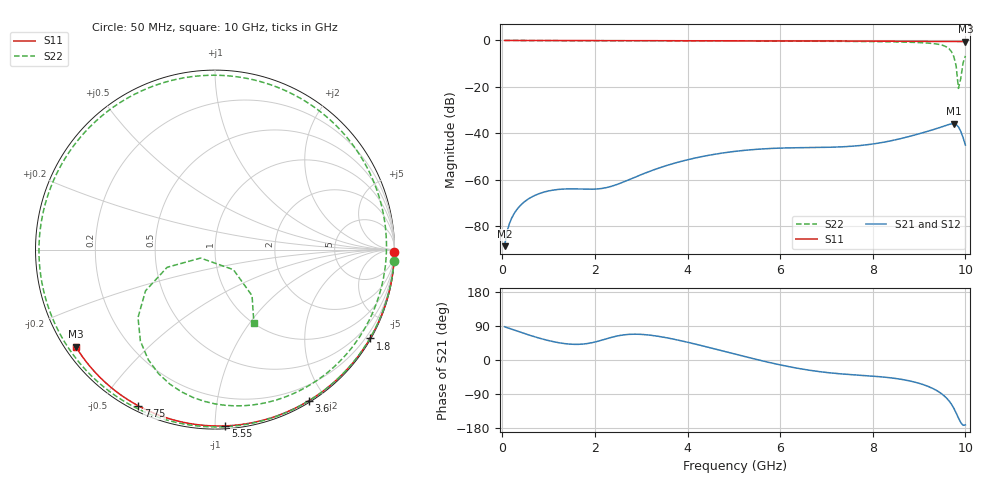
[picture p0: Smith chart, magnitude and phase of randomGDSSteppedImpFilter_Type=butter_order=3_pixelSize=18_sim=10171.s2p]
! freq	dB(S11)	phase(S11)	dB(S12)	phase(S12)
!  dB(S21)	phase(S21)	dB(S22)	phase(S22)
!S-par simulation data
#  GHz  S  DB  R 50
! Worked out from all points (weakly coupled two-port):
!   200 points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, 50 MHz to 10 GHz, reference 50 ohm
!   highest |S21| = -35.84 dB at 9.75 GHz (marker M1); lowest = -88.5 dB at 50 MHz (marker M2)
!   lowest |S11| = -0.5 dB at 10 GHz (marker M3), VSWR 35.74, Z = 1.54 - j15.7 ohm
!   |S11| at or under -10 dB: nowhere
!   |S22| runs from -20.6 to 0.0 dB; largest |S21 - S12| = 0
!   S11 on the Smith chart (normalised r, x): 50 MHz: open; 1.8 GHz: 0.03, -3.76; 3.6 GHz: 0.02, -1.80; 5.55 GHz: 0.02, -1.06; 7.75 GHz: 0.02, -0.62; 10 GHz: 0.03, -0.31
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0.05  -0.00 -0.8  -88.53 87.7  -88.53 87.7  -0.00 -3.5
0.45  -0.01 -7.5  -69.90 70.9  -69.90 70.9  -0.05 -31.2
0.9  -0.02 -15.0  -65.25 54.3  -65.25 54.3  -0.08 -61.0
1.3  -0.03 -21.6  -63.97 44.0  -63.97 44.0  -0.10 -85.6
1.75  -0.04 -29.0  -63.99 42.1  -63.99 42.1  -0.12 -110.9
1.8  -0.04 -29.8  -64.01 42.8  -64.01 42.8  -0.12 -113.6
2.6  -0.05 -42.6  -61.04 65.9  -61.04 65.9  -0.15 -153.2
3.4  -0.07 -55.1  -54.79 61.9  -54.79 61.9  -0.18 171.4
3.6  -0.08 -58.1  -53.51 57.4  -53.51 57.4  -0.18 162.9
4.35  -0.10 -69.4  -49.83 36.5  -49.83 36.5  -0.21 131.7
5.05  -0.12 -79.5  -47.67 14.8  -47.67 14.8  -0.24 102.6
5.55  -0.14 -86.6  -46.76 -0.4  -46.76 -0.4  -0.26 81.7
6.7  -0.20 -102.3  -46.09 -28.2  -46.09 -28.2  -0.32 33.0
7.75  -0.27 -116.2  -45.17 -40.5  -45.17 -40.5  -0.44 -11.6
8.35  -0.32 -124.0  -43.36 -46.5  -43.36 -46.5  -0.57 -38.0
9.3  -0.41 -136.1  -38.41 -75.4  -38.41 -75.4  -1.32 -90.1
9.55  -0.44 -139.3  -36.77 -95.5  -36.77 -95.5  -2.38 -114.4
9.75  -0.46 -141.9  -35.84 -127.2  -35.84 -127.2  -6.93 -149.3
9.8  -0.46 -142.6  -36.19 -139.6  -36.19 -139.6  -10.92 -159.7
9.85  -0.47 -143.2  -37.21 -153.0  -37.21 -153.0  -20.64 -149.6
9.95  -0.48 -144.5  -41.81 -172.4  -41.81 -172.4  -9.64 -51.2
10  -0.49 -145.2  -45.00 -171.3  -45.00 -171.3  -6.66 -62.2
